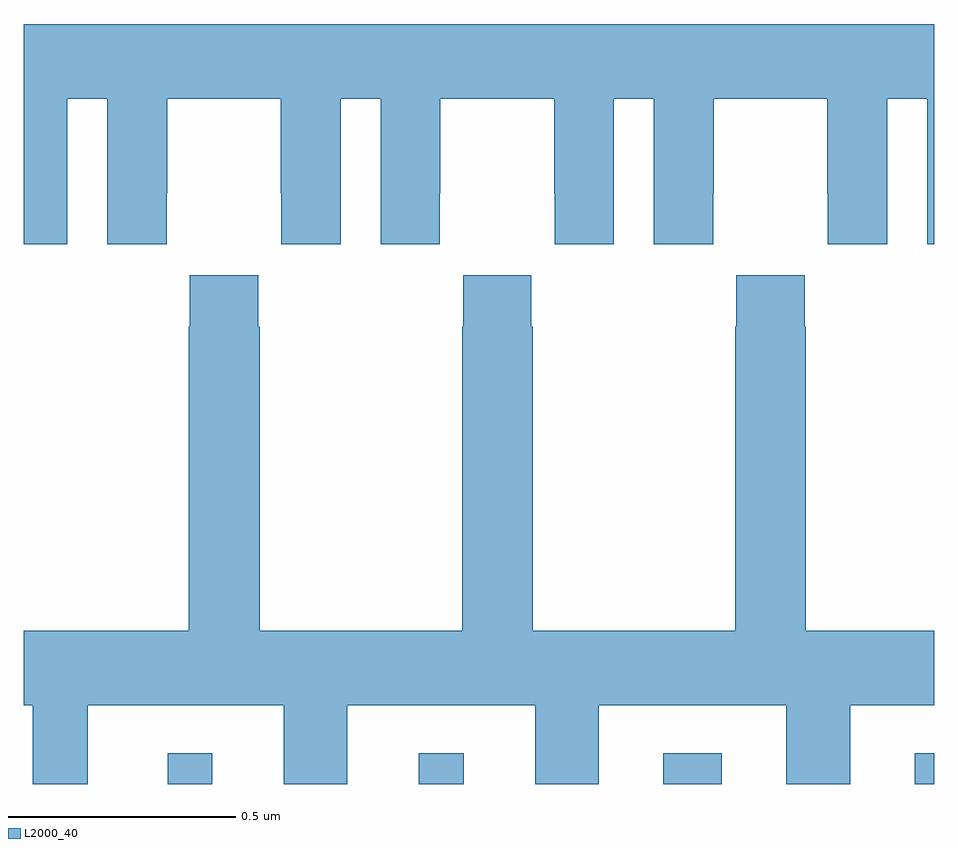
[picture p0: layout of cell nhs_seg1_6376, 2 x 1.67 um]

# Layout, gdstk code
import gdstk
lib = gdstk.Library(unit=1e-6, precision=1e-09)
def R(c, l, rs):  # rectangles x0, y0, x1, y1
    for r in rs: c.add(gdstk.rectangle(r[:2], r[2:], *l))
def P(c, l, *ps):  # polygons
    for p in ps: c.add(gdstk.Polygon(p, *l))
L2000_40 = (2000, 40)

nhs_seg1_6376 = lib.new_cell('nhs_seg1_6376')
R(nhs_seg1_6376, L2000_40, [(190.316,578.199,190.414,578.266), (190.868,578.199,190.966,578.266), (191.405,578.199,191.533,578.266), (191.957,578.199,192,578.266)])
P(nhs_seg1_6376, L2000_40, [(190.096,579.704),(190.184,579.704),(190.184,579.384),(190.314,579.384),(190.314,579.496),(190.315,579.496),(190.315,579.704),(190.565,579.704),(190.565,579.496),(190.566,579.496),(190.566,579.384),(190.696,579.384),(190.696,579.704),(190.784,579.704),(190.784,579.384),(190.914,579.384),(190.914,579.496),(190.915,579.496),(190.915,579.704),(191.165,579.704),(191.165,579.496),(191.166,579.496),(191.166,579.384),(191.296,579.384),(191.296,579.704),(191.384,579.704),(191.384,579.384),(191.514,579.384),(191.514,579.496),(191.515,579.496),(191.515,579.704),(191.765,579.704),(191.765,579.496),(191.766,579.496),(191.766,579.384),(191.896,579.384),(191.896,579.704),(191.984,579.704),(191.984,579.384),(192,579.384),(192,579.868),(190,579.868),(190,579.384),(190.096,579.384)],
  [(190.141,578.372),(190.571,578.372),(190.571,578.199),(190.711,578.199),(190.711,578.372),(191.123,578.372),(191.123,578.199),(191.263,578.199),(191.263,578.372),(191.675,578.372),(191.675,578.199),(191.815,578.199),(191.815,578.372),(192,578.372),(192,578.536),(191.718,578.536),(191.718,579.203),(191.715,579.203),(191.715,579.316),(191.565,579.316),(191.565,579.203),(191.563,579.203),(191.563,578.536),(191.118,578.536),(191.118,579.203),(191.115,579.203),(191.115,579.316),(190.965,579.316),(190.965,579.203),(190.963,579.203),(190.963,578.536),(190.518,578.536),(190.518,579.203),(190.515,579.203),(190.515,579.316),(190.365,579.316),(190.365,579.203),(190.363,579.203),(190.363,578.536),(190,578.536),(190,578.372),(190.02,578.372),(190.02,578.199),(190.141,578.199)])

lib.write_gds('nhs_seg1_6376.gds')
